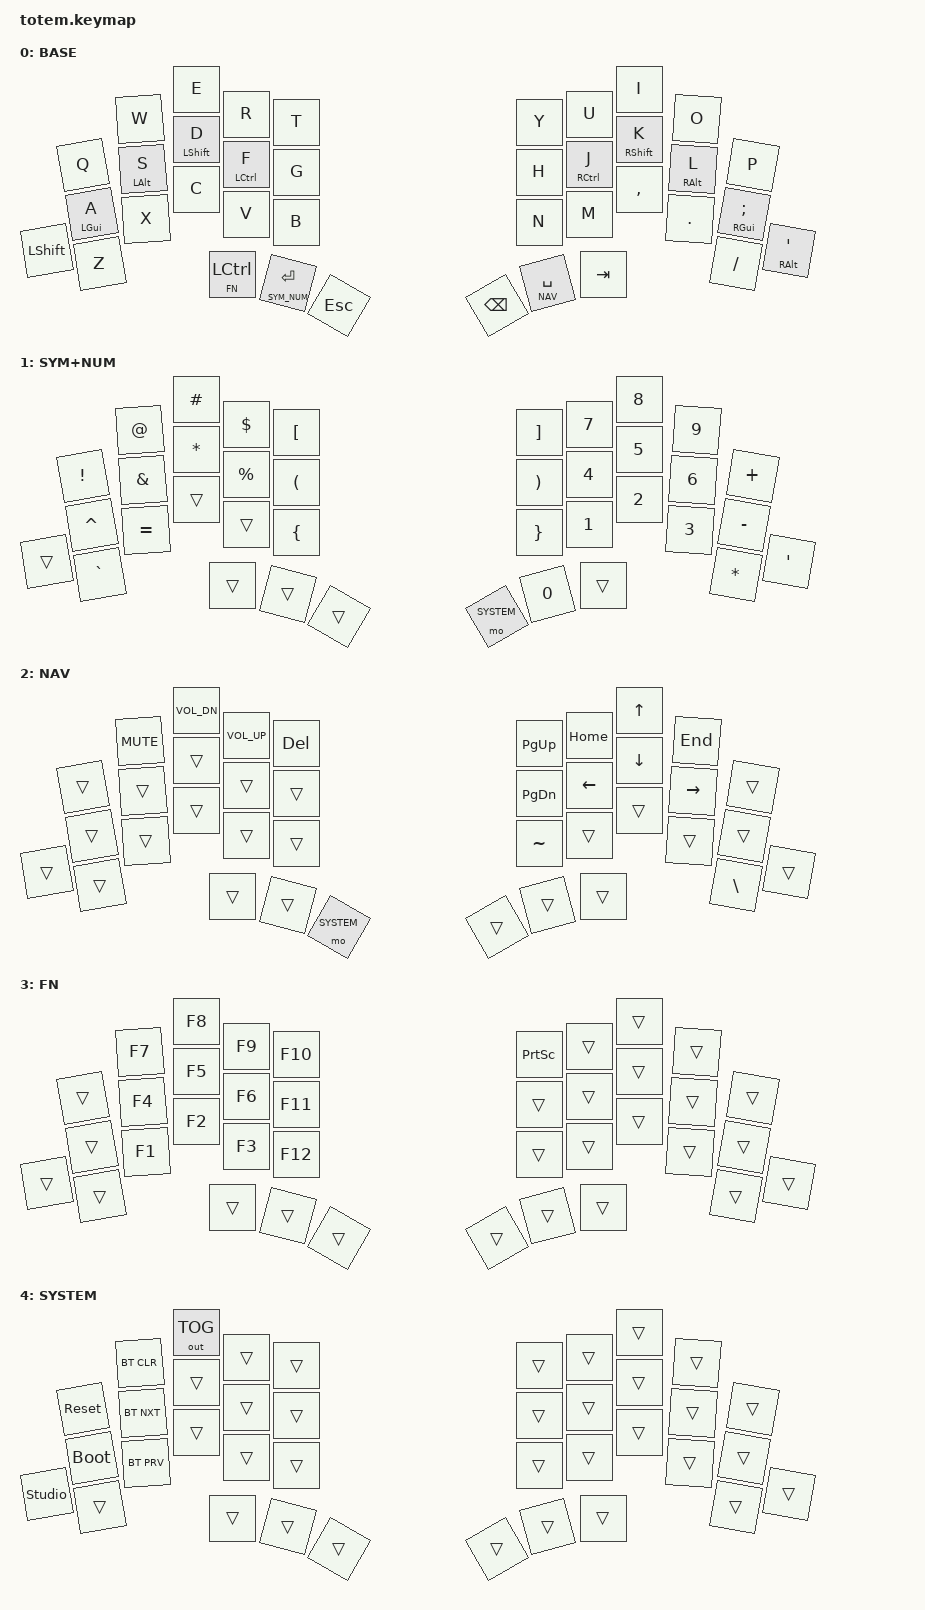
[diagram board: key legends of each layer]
//
//                                                        ▀▀▀▀▀     ▀▀▀▀▀          ▀▀█▀▀
//                                                        ▄▀▀▀▄  ▄  ▄▀▀▀▄  ▄  ▄▀▀▀▄  █  ▄▀▀▀▄
//                                                        █   █  █  █   █  █  █   █  █  █   █
//                                                         ▀▀▀   █   ▀▀▀   █   ▀▀▀   ▀   ▀▀▀
//                                                               █      ▄▄▄█▄▄▄    █   █  
//                                                               ▀      █  █  █     █▄█
//                                                             ▀▀▀▀▀    █  █  █      ▀
//                                                                      ▀  ▀  ▀
//
// ▄▄▄▄▄▄▄▄▄▄▄▄▄▄▄▄▄▄▄▄▄▄▄▄▄▄▄▄▄▄▄▄▄▄▄▄▄▄▄▄▄▄▄▄▄▄▄▄▄▄▄▄▄▄▄▄▄▄▄▄▄▄▄▄▄▄▄▄▄▄▄▄▄▄▄▄▄▄▄▄▄▄▄▄▄▄▄▄▄▄▄▄▄▄▄▄▄▄▄▄▄▄▄▄▄▄▄▄▄▄▄▄▄▄▄▄▄▄▄▄▄▄▄▄▄▄▄▄▄▄▄▄▄▄▄▄▄▄▄▄▄▄▄▄▄▄▄▄▄

#include <behaviors.dtsi>
#include <dt-bindings/zmk/bt.h>
#include <dt-bindings/zmk/keys.h>
#include <dt-bindings/zmk/outputs.h>

#define BASE 0
#define SYM_NUM 1
#define NAV     2
#define FN      3
#define SYSTEM  4

&mt {
    quick-tap-ms = <200>;
    flavor = "tap-preferred";
    tapping-term-ms = <170>;
};

/ {
    combos {
        compatible = "zmk,combos";

        // Key positions (QWERTY letters as on the base layer):
        //
        //          0 Q   1 W   2 E   3 R   4 T     5 Y   6 U   7 I   8 O   9 P
        //         10 A  11 S  12 D  13 F  14 G    15 H  16 J  17 K  18 L  19 ;
        //  20 SH  21 Z  22 X  23 C  24 V  25 B    26 N  27 M  28 ,  29 .  30 /  31 '
        //                     32    33    34      35    36    37    (thumbs)
    };

    macros {
    };

    keymap {
        compatible = "zmk,keymap";

        // ▄▄▄▄▄▄▄▄▄▄▄▄▄▄▄▄▄▄▄▄▄▄▄▄▄▄▄▄▄▄▄▄▄▄▄▄▄▄▄▄▄▄▄▄▄▄▄▄▄▄▄▄▄▄▄▄▄▄▄▄▄▄▄▄▄▄▄▄▄▄▄▄▄▄▄▄▄▄▄▄▄▄▄▄▄▄▄▄▄▄▄▄▄▄▄▄▄▄▄▄▄▄▄▄▄▄▄▄▄▄▄▄▄▄▄▄▄▄▄▄▄▄▄▄▄▄▄▄▄▄▄▄▄▄▄▄▄▄▄▄▄▄▄▄▄▄▄▄▄

        base_layer {
            // ┏━━━━━━━━━━━━━━━━━━━━━━━━━━━━━━━━━━━━━━━┓

            label = "BASE";

            // ┗━━━━━━━━━━━━━━━━━━━━━━━━━━━━━━━━━━━━━━━┛
            //             ┏━━━━━━━━━━━┳━━━━━━━━━━━┳━━━━━━━━━━━┳━━━━━━━━━━━┳━━━━━━━━━━━┓   ┏━━━━━━━━━━━┳━━━━━━━━━━━┳━━━━━━━━━━━┳━━━━━━━━━━━┳━━━━━━━━━━━┓
            //             ┃     Q     ┃     W     ┃     E     ┃     R     ┃     T     ┃   ┃     Y     ┃     U     ┃     I     ┃     O     ┃     P     ┃
            //             ┣━━━━━━━━━━━╋━━━━━━━━━━━╋━━━━━━━━━━━╋━━━━━━━━━━━╋━━━━━━━━━━━┫   ┣━━━━━━━━━━━╋━━━━━━━━━━━╋━━━━━━━━━━━╋━━━━━━━━━━━╋━━━━━━━━━━━┫
            //             ┃     A     ┃     S     ┃     D     ┃     F     ┃     G     ┃   ┃     H     ┃     J     ┃     K     ┃     L     ┃     ;     ┃
            // ┏━━━━━━━━━━━╋━━━━━━━━━━━╋━━━━━━━━━━━╋━━━━━━━━━━━╋━━━━━━━━━━━╋━━━━━━━━━━━┫   ┣━━━━━━━━━━━╋━━━━━━━━━━━╋━━━━━━━━━━━╋━━━━━━━━━━━╋━━━━━━━━━━━╋━━━━━━━━━━━┓
            // ┃   SHIFT   ┃     Z     ┃     X     ┃     C     ┃     V     ┃     B     ┃   ┃     N     ┃     M     ┃     ,     ┃     .     ┃     /     ┃     '     ┃
            // ┗━━━━━━━━━━━┻━━━━━━━━━━━┻━━━━━━━━━━━╋━━━━━━━━━━━╋━━━━━━━━━━━╋━━━━━━━━━━━┫   ┣━━━━━━━━━━━╋━━━━━━━━━━━╋━━━━━━━━━━━╋━━━━━━━━━━━┻━━━━━━━━━━━┻━━━━━━━━━━━┛
            //                                     ┃    CTRL   ┃    RET    ┃    ESC    ┃   ┃    BSPC   ┃    SPC    ┃    TAB    ┃
            //                                     ┗━━━━━━━━━━━┻━━━━━━━━━━━┻━━━━━━━━━━━┛   ┗━━━━━━━━━━━┻━━━━━━━━━━━┻━━━━━━━━━━━┛

            bindings = <
            &kp Q       &kp W       &kp E        &kp R        &kp T        &kp Y    &kp U        &kp I        &kp O       &kp P
            &mt LGUI A  &mt LALT S  &mt LSHFT D  &mt LCTRL F  &kp G        &kp H    &mt RCTRL J  &mt RSHFT K  &mt RALT L  &mt RGUI SEMI
 &kp LSHFT  &kp Z       &kp X       &kp C        &kp V        &kp B        &kp N    &kp M        &kp COMMA    &kp DOT     &kp FSLH       &mt RALT SQT
                                    &lt FN LCTRL      &lt SYM_NUM RET  &kp ESC    &kp BSPC &lt NAV SPACE &kp TAB
            >;
        };

        // ▄▄▄▄▄▄▄▄▄▄▄▄▄▄▄▄▄▄▄▄▄▄▄▄▄▄▄▄▄▄▄▄▄▄▄▄▄▄▄▄▄▄▄▄▄▄▄▄▄▄▄▄▄▄▄▄▄▄▄▄▄▄▄▄▄▄▄▄▄▄▄▄▄▄▄▄▄▄▄▄▄▄▄▄▄▄▄▄▄▄▄▄▄▄▄▄▄▄▄▄▄▄▄▄▄▄▄▄▄▄▄▄▄▄▄▄▄▄▄▄▄▄▄▄▄▄▄▄▄▄▄▄▄▄▄▄▄▄▄▄▄▄▄▄▄▄▄▄▄

        sym_num_layer {
            // ┏━━━━━━━━━━━━━━━━━━━━━━━━━━━━━━━━━━━━━━━┓

            label = "SYM+NUM";

            // ┗━━━━━━━━━━━━━━━━━━━━━━━━━━━━━━━━━━━━━━━┛
            //             ┏━━━━━━━━━━━┳━━━━━━━━━━━┳━━━━━━━━━━━┳━━━━━━━━━━━┳━━━━━━━━━━━┓   ┏━━━━━━━━━━━┳━━━━━━━━━━━┳━━━━━━━━━━━┳━━━━━━━━━━━┳━━━━━━━━━━━┓
            //             ┃     !     ┃     @     ┃     #     ┃     $     ┃     [     ┃   ┃     ]     ┃     7     ┃     8     ┃     9     ┃     +     ┃
            //             ┣━━━━━━━━━━━╋━━━━━━━━━━━╋━━━━━━━━━━━╋━━━━━━━━━━━╋━━━━━━━━━━━┫   ┣━━━━━━━━━━━╋━━━━━━━━━━━╋━━━━━━━━━━━╋━━━━━━━━━━━╋━━━━━━━━━━━┫
            //             ┃     ˆ     ┃     &     ┃     *     ┃     %     ┃     (     ┃   ┃     )     ┃     4     ┃     5     ┃     6     ┃     -     ┃
            // ┏━━━━━━━━━━━╋━━━━━━━━━━━╋━━━━━━━━━━━╋━━━━━━━━━━━╋━━━━━━━━━━━╋━━━━━━━━━━━┫   ┣━━━━━━━━━━━╋━━━━━━━━━━━╋━━━━━━━━━━━╋━━━━━━━━━━━╋━━━━━━━━━━━╋━━━━━━━━━━━┓
            // ┃           ┃     `     ┃     =     ┃           ┃           ┃     {     ┃   ┃     }     ┃     1     ┃     2     ┃     3     ┃     *     ┃     '     ┃
            // ┗━━━━━━━━━━━┻━━━━━━━━━━━┻━━━━━━━━━━━╋━━━━━━━━━━━╋━━━━━━━━━━━╋━━━━━━━━━━━┫   ┣━━━━━━━━━━━╋━━━━━━━━━━━╋━━━━━━━━━━━╋━━━━━━━━━━━┻━━━━━━━━━━━┻━━━━━━━━━━━┛
            //                                     ┃           ┃           ┃           ┃   ┃           ┃     0     ┃           ┃
            //                                     ┗━━━━━━━━━━━┻━━━━━━━━━━━┻━━━━━━━━━━━┛   ┗━━━━━━━━━━━┻━━━━━━━━━━━┻━━━━━━━━━━━┛

            bindings = <
        &kp EXCL    &kp AT    &kp HASH    &kp DLLR    &kp LBKT    &kp RBKT  &kp N7  &kp N8  &kp N9  &kp PLUS
        &kp CARET   &kp AMPS  &kp STAR    &kp PRCNT   &kp LPAR    &kp RPAR  &kp N4  &kp N5  &kp N6  &kp MINUS
&trans  &kp GRAVE   &kp EQUAL &trans      &trans      &kp LBRC    &kp RBRC  &kp N1  &kp N2  &kp N3  &kp STAR  &kp SQT
                              &trans      &trans      &trans      &mo SYSTEM   &kp N0  &trans
            >;
        };

        // ▄▄▄▄▄▄▄▄▄▄▄▄▄▄▄▄▄▄▄▄▄▄▄▄▄▄▄▄▄▄▄▄▄▄▄▄▄▄▄▄▄▄▄▄▄▄▄▄▄▄▄▄▄▄▄▄▄▄▄▄▄▄▄▄▄▄▄▄▄▄▄▄▄▄▄▄▄▄▄▄▄▄▄▄▄▄▄▄▄▄▄▄▄▄▄▄▄▄▄▄▄▄▄▄▄▄▄▄▄▄▄▄▄▄▄▄▄▄▄▄▄▄▄▄▄▄▄▄▄▄▄▄▄▄▄▄▄▄▄▄▄▄▄▄▄▄▄▄▄

        nav_layer {
            // ┏━━━━━━━━━━━━━━━━━━━━━━━━━━━━━━━━━━━━━━━┓

            label = "NAV";

            // ┗━━━━━━━━━━━━━━━━━━━━━━━━━━━━━━━━━━━━━━━┛
            //             ┏━━━━━━━━━━━┳━━━━━━━━━━━┳━━━━━━━━━━━┳━━━━━━━━━━━┳━━━━━━━━━━━┓   ┏━━━━━━━━━━━┳━━━━━━━━━━━┳━━━━━━━━━━━┳━━━━━━━━━━━┳━━━━━━━━━━━┓
            //             ┃           ┃    MUTE   ┃    VOL-   ┃    VOL+   ┃    DEL    ┃   ┃    P UP   ┃    HOME   ┃     UP    ┃    END    ┃           ┃
            //             ┣━━━━━━━━━━━╋━━━━━━━━━━━╋━━━━━━━━━━━╋━━━━━━━━━━━╋━━━━━━━━━━━┫   ┣━━━━━━━━━━━╋━━━━━━━━━━━╋━━━━━━━━━━━╋━━━━━━━━━━━╋━━━━━━━━━━━┫
            //             ┃           ┃           ┃           ┃           ┃           ┃   ┃   P DOWN  ┃    LEFT   ┃    DOWN   ┃   RIGHT   ┃           ┃
            // ┏━━━━━━━━━━━╋━━━━━━━━━━━╋━━━━━━━━━━━╋━━━━━━━━━━━╋━━━━━━━━━━━╋━━━━━━━━━━━┫   ┣━━━━━━━━━━━╋━━━━━━━━━━━╋━━━━━━━━━━━╋━━━━━━━━━━━╋━━━━━━━━━━━╋━━━━━━━━━━━┓
            // ┃           ┃           ┃           ┃           ┃           ┃           ┃   ┃     ~     ┃           ┃           ┃           ┃     \     ┃           ┃
            // ┗━━━━━━━━━━━┻━━━━━━━━━━━┻━━━━━━━━━━━╋━━━━━━━━━━━╋━━━━━━━━━━━╋━━━━━━━━━━━┫   ┣━━━━━━━━━━━╋━━━━━━━━━━━╋━━━━━━━━━━━╋━━━━━━━━━━━┻━━━━━━━━━━━┻━━━━━━━━━━━┛
            //                                     ┃           ┃           ┃           ┃   ┃           ┃           ┃           ┃
            //                                     ┗━━━━━━━━━━━┻━━━━━━━━━━━┻━━━━━━━━━━━┛   ┗━━━━━━━━━━━┻━━━━━━━━━━━┻━━━━━━━━━━━┛

            bindings = <
        &trans       &kp C_MUTE   &kp C_VOL_DN &kp C_VOL_UP &kp DEL  &kp PG_UP     &kp HOME        &kp UP    &kp END     &trans
        &trans       &trans       &trans     &trans    &trans       &kp PG_DN     &kp LEFT        &kp DOWN  &kp RIGHT   &trans
&trans  &trans       &trans       &trans     &trans    &trans       &kp TILDE     &trans          &trans    &trans      &kp BSLH   &trans
                                  &trans     &trans    &mo SYSTEM      &trans        &trans          &trans
            >;
        };

        // ▄▄▄▄▄▄▄▄▄▄▄▄▄▄▄▄▄▄▄▄▄▄▄▄▄▄▄▄▄▄▄▄▄▄▄▄▄▄▄▄▄▄▄▄▄▄▄▄▄▄▄▄▄▄▄▄▄▄▄▄▄▄▄▄▄▄▄▄▄▄▄▄▄▄▄▄▄▄▄▄▄▄▄▄▄▄▄▄▄▄▄▄▄▄▄▄▄▄▄▄▄▄▄▄▄▄▄▄▄▄▄▄▄▄▄▄▄▄▄▄▄▄▄▄▄▄▄▄▄▄▄▄▄▄▄▄▄▄▄▄▄▄▄▄▄▄▄▄▄

        fn_layer {
            // ┏━━━━━━━━━━━━━━━━━━━━━━━━━━━━━━━━━━━━━━━┓

            label = "FN";

            // ┗━━━━━━━━━━━━━━━━━━━━━━━━━━━━━━━━━━━━━━━┛
            //             ┏━━━━━━━━━━━┳━━━━━━━━━━━┳━━━━━━━━━━━┳━━━━━━━━━━━┳━━━━━━━━━━━┓   ┏━━━━━━━━━━━┳━━━━━━━━━━━┳━━━━━━━━━━━┳━━━━━━━━━━━┳━━━━━━━━━━━┓
            //             ┃           ┃     F7    ┃     F8    ┃     F9    ┃    F10    ┃   ┃  PRT SCR  ┃           ┃           ┃           ┃           ┃
            //             ┣━━━━━━━━━━━╋━━━━━━━━━━━╋━━━━━━━━━━━╋━━━━━━━━━━━╋━━━━━━━━━━━┫   ┣━━━━━━━━━━━╋━━━━━━━━━━━╋━━━━━━━━━━━╋━━━━━━━━━━━╋━━━━━━━━━━━┫
            //             ┃           ┃     F4    ┃     F5    ┃     F6    ┃    F11    ┃   ┃           ┃           ┃           ┃           ┃           ┃
            // ┏━━━━━━━━━━━╋━━━━━━━━━━━╋━━━━━━━━━━━╋━━━━━━━━━━━╋━━━━━━━━━━━╋━━━━━━━━━━━┫   ┣━━━━━━━━━━━╋━━━━━━━━━━━╋━━━━━━━━━━━╋━━━━━━━━━━━╋━━━━━━━━━━━╋━━━━━━━━━━━┓
            // ┃           ┃           ┃     F1    ┃     F2    ┃     F3    ┃    F12    ┃   ┃           ┃           ┃           ┃           ┃           ┃           ┃
            // ┗━━━━━━━━━━━┻━━━━━━━━━━━┻━━━━━━━━━━━╋━━━━━━━━━━━╋━━━━━━━━━━━╋━━━━━━━━━━━┫   ┣━━━━━━━━━━━╋━━━━━━━━━━━╋━━━━━━━━━━━╋━━━━━━━━━━━┻━━━━━━━━━━━┻━━━━━━━━━━━┛
            //                                     ┃           ┃           ┃           ┃   ┃           ┃           ┃           ┃
            //                                     ┗━━━━━━━━━━━┻━━━━━━━━━━━┻━━━━━━━━━━━┛   ┗━━━━━━━━━━━┻━━━━━━━━━━━┻━━━━━━━━━━━┛

            bindings = <
        &trans     &kp F7       &kp F8    &kp F9    &kp F10      &kp PSCRN  &trans        &trans    &trans    &trans
        &trans     &kp F4       &kp F5    &kp F6    &kp F11      &trans     &trans        &trans    &trans    &trans
&trans  &trans     &kp F1       &kp F2    &kp F3    &kp F12      &trans     &trans        &trans    &trans    &trans    &trans
                                &trans    &trans    &trans       &trans     &trans        &trans
            >;
        };

        // ▄▄▄▄▄▄▄▄▄▄▄▄▄▄▄▄▄▄▄▄▄▄▄▄▄▄▄▄▄▄▄▄▄▄▄▄▄▄▄▄▄▄▄▄▄▄▄▄▄▄▄▄▄▄▄▄▄▄▄▄▄▄▄▄▄▄▄▄▄▄▄▄▄▄▄▄▄▄▄▄▄▄▄▄▄▄▄▄▄▄▄▄▄▄▄▄▄▄▄▄▄▄▄▄▄▄▄▄▄▄▄▄▄▄▄▄▄▄▄▄▄▄▄▄▄▄▄▄▄▄▄▄▄▄▄▄▄▄▄▄▄▄▄▄▄▄▄▄▄

        system_layer {
            // ┏━━━━━━━━━━━━━━━━━━━━━━━━━━━━━━━━━━━━━━━┓

            label = "SYSTEM";

            // ┗━━━━━━━━━━━━━━━━━━━━━━━━━━━━━━━━━━━━━━━┛
            //             ┏━━━━━━━━━━━┳━━━━━━━━━━━┳━━━━━━━━━━━┳━━━━━━━━━━━┳━━━━━━━━━━━┓   ┏━━━━━━━━━━━┳━━━━━━━━━━━┳━━━━━━━━━━━┳━━━━━━━━━━━┳━━━━━━━━━━━┓
            //             ┃   RESET   ┃  BT CLEAR ┃  OUT TOG  ┃           ┃           ┃   ┃           ┃           ┃           ┃           ┃           ┃
            //             ┣━━━━━━━━━━━╋━━━━━━━━━━━╋━━━━━━━━━━━╋━━━━━━━━━━━╋━━━━━━━━━━━┫   ┣━━━━━━━━━━━╋━━━━━━━━━━━╋━━━━━━━━━━━╋━━━━━━━━━━━╋━━━━━━━━━━━┫
            //             ┃  BOOTLOAD ┃  BT NEXT  ┃           ┃           ┃           ┃   ┃           ┃           ┃           ┃           ┃           ┃
            // ┏━━━━━━━━━━━╋━━━━━━━━━━━╋━━━━━━━━━━━╋━━━━━━━━━━━╋━━━━━━━━━━━╋━━━━━━━━━━━┫   ┣━━━━━━━━━━━╋━━━━━━━━━━━╋━━━━━━━━━━━╋━━━━━━━━━━━╋━━━━━━━━━━━╋━━━━━━━━━━━┓
            // ┃   STUDIO  ┃           ┃  BT PREV  ┃           ┃           ┃           ┃   ┃           ┃           ┃           ┃           ┃           ┃           ┃
            // ┗━━━━━━━━━━━┻━━━━━━━━━━━┻━━━━━━━━━━━╋━━━━━━━━━━━╋━━━━━━━━━━━╋━━━━━━━━━━━┫   ┣━━━━━━━━━━━╋━━━━━━━━━━━╋━━━━━━━━━━━╋━━━━━━━━━━━┻━━━━━━━━━━━┻━━━━━━━━━━━┛
            //                                     ┃           ┃           ┃           ┃   ┃           ┃           ┃           ┃
            //                                     ┗━━━━━━━━━━━┻━━━━━━━━━━━┻━━━━━━━━━━━┛   ┗━━━━━━━━━━━┻━━━━━━━━━━━┻━━━━━━━━━━━┛

            bindings = <
        &sys_reset   &bt BT_CLR  &out OUT_TOG  &trans  &trans    &trans  &trans &trans &trans &trans
        &bootloader  &bt BT_NXT  &trans        &trans  &trans    &trans  &trans &trans &trans &trans
&studio_unlock  &trans       &bt BT_PRV  &trans        &trans  &trans    &trans  &trans &trans &trans &trans &trans
                                 &trans        &trans  &trans    &trans  &trans  &trans
            >;
        };
    };
};
